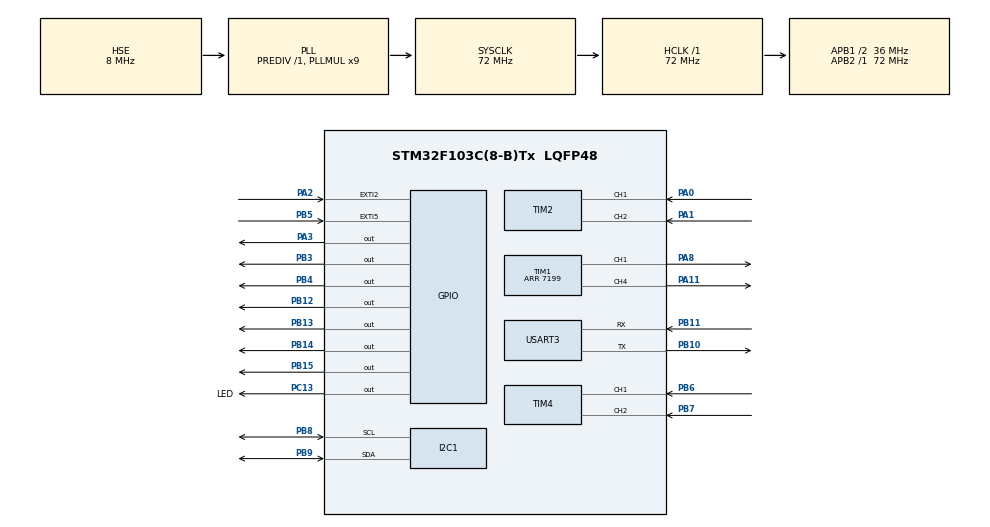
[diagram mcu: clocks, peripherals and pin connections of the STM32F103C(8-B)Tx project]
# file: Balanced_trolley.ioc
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Dma.Request0=USART3_RX
Dma.Request1=USART3_TX
Dma.USART3_RX.0.Direction=DMA_PERIPH_TO_MEMORY
Dma.USART3_RX.0.Instance=DMA1_Channel3
Dma.USART3_RX.0.MemDataAlignment=DMA_MDATAALIGN_BYTE
Dma.USART3_RX.0.MemInc=DMA_MINC_ENABLE
Dma.USART3_RX.0.Mode=DMA_NORMAL
Dma.USART3_RX.0.PeriphDataAlignment=DMA_PDATAALIGN_BYTE
Dma.USART3_RX.0.PeriphInc=DMA_PINC_DISABLE
Dma.USART3_RX.0.Priority=DMA_PRIORITY_LOW
Dma.USART3_TX.1.Direction=DMA_MEMORY_TO_PERIPH
Dma.USART3_TX.1.Instance=DMA1_Channel2
Dma.USART3_TX.1.MemDataAlignment=DMA_MDATAALIGN_BYTE
Dma.USART3_TX.1.MemInc=DMA_MINC_ENABLE
Dma.USART3_TX.1.Mode=DMA_CIRCULAR
Dma.USART3_TX.1.PeriphDataAlignment=DMA_PDATAALIGN_BYTE
Dma.USART3_TX.1.PeriphInc=DMA_PINC_DISABLE
Dma.USART3_TX.1.Priority=DMA_PRIORITY_LOW
Mcu.Family=STM32F1
Mcu.Name=STM32F103C(8-B)Tx
Mcu.Package=LQFP48
NVIC.DMA1_Channel2_IRQn=true\:0\:0\:false\:false\:true\:false\:true\:true
NVIC.DMA1_Channel3_IRQn=true\:0\:0\:false\:false\:true\:false\:true\:true
NVIC.EXTI2_IRQn=true\:0\:0\:false\:false\:true\:true\:true\:true
NVIC.EXTI9_5_IRQn=true\:0\:0\:false\:false\:true\:true\:true\:true
NVIC.PriorityGroup=NVIC_PRIORITYGROUP_4
NVIC.TIM2_IRQn=true\:0\:0\:false\:false\:true\:true\:true\:true
NVIC.TIM4_IRQn=true\:0\:0\:false\:false\:true\:true\:true\:true
NVIC.USART3_IRQn=true\:0\:0\:false\:false\:true\:true\:true\:true
PA0-WKUP.Signal=S_TIM2_CH1_ETR
PA1.Signal=S_TIM2_CH2
PA11.Signal=S_TIM1_CH4
PA13.Mode=Serial_Wire
PA13.Signal=SYS_JTMS-SWDIO
PA14.Mode=Serial_Wire
PA14.Signal=SYS_JTCK-SWCLK
PA2.GPIO_ModeDefaultEXTI=GPIO_MODE_IT_RISING_FALLING
PA2.Signal=GPXTI2
PA3.GPIO_Speed=GPIO_SPEED_FREQ_HIGH
PA3.Signal=GPIO_Output
PA8.Signal=S_TIM1_CH1
PB10.Mode=Asynchronous
PB10.Signal=USART3_TX
PB11.Mode=Asynchronous
PB11.Signal=USART3_RX
PB12.Signal=GPIO_Output
PB13.Signal=GPIO_Output
PB14.Signal=GPIO_Output
PB15.Signal=GPIO_Output
PB3.Signal=GPIO_Output
PB4.Signal=GPIO_Output
PB5.GPIO_ModeDefaultEXTI=GPIO_MODE_IT_FALLING
PB5.GPIO_PuPd=GPIO_PULLUP
PB5.Signal=GPXTI5
PB6.Signal=S_TIM4_CH1
PB7.Signal=S_TIM4_CH2
PB8.Mode=I2C
PB8.Signal=I2C1_SCL
PB9.Mode=I2C
PB9.Signal=I2C1_SDA
PC13-TAMPER-RTC.GPIO_Label=LED
PC13-TAMPER-RTC.GPIO_Speed=GPIO_SPEED_FREQ_HIGH
PC13-TAMPER-RTC.Signal=GPIO_Output
PC14-OSC32_IN.Mode=LSE-External-Oscillator
PC14-OSC32_IN.Signal=RCC_OSC32_IN
PC15-OSC32_OUT.Mode=LSE-External-Oscillator
PC15-OSC32_OUT.Signal=RCC_OSC32_OUT
PD0-OSC_IN.Mode=HSE-External-Oscillator
PD0-OSC_IN.Signal=RCC_OSC_IN
PD1-OSC_OUT.Mode=HSE-External-Oscillator
PD1-OSC_OUT.Signal=RCC_OSC_OUT
ProjectManager.HeapSize=0x200
ProjectManager.StackSize=0x400
ProjectManager.TargetToolchain=MDK-ARM V5.32
RCC.AHBFreq_Value=72000000
RCC.APB1CLKDivider=RCC_HCLK_DIV2
RCC.APB1Freq_Value=36000000
RCC.APB1TimFreq_Value=72000000
RCC.APB2Freq_Value=72000000
RCC.APB2TimFreq_Value=72000000
RCC.HCLKFreq_Value=72000000
RCC.PLLMUL=RCC_PLL_MUL9
RCC.PLLSourceVirtual=RCC_PLLSOURCE_HSE
RCC.SYSCLKFreq_VALUE=72000000
RCC.SYSCLKSource=RCC_SYSCLKSOURCE_PLLCLK
RCC.USBFreq_Value=72000000
SH.S_TIM1_CH1.0=TIM1_CH1,PWM Generation1 CH1
SH.S_TIM1_CH4.0=TIM1_CH4,PWM Generation4 CH4
SH.S_TIM2_CH1_ETR.0=TIM2_CH1,Encoder_Interface
SH.S_TIM2_CH2.0=TIM2_CH2,Encoder_Interface
SH.S_TIM4_CH1.0=TIM4_CH1,Encoder_Interface
SH.S_TIM4_CH2.0=TIM4_CH2,Encoder_Interface
TIM1.Channel-PWM\ Generation1\ CH1=TIM_CHANNEL_1
TIM1.Channel-PWM\ Generation4\ CH4=TIM_CHANNEL_4
TIM1.OC4Preload_PWM=ENABLE
TIM1.Period=7199
TIM1.Pulse-PWM\ Generation1\ CH1=7200
TIM1.Pulse-PWM\ Generation4\ CH4=7200
TIM2.EncoderMode=TIM_ENCODERMODE_TI12
TIM3.Prescaler=71
TIM4.EncoderMode=TIM_ENCODERMODE_TI12
USART3.VirtualMode=VM_ASYNC
VP_TIM3_VS_ClockSourceINT.Mode=Internal
board=custom

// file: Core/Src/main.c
/* USER CODE BEGIN Header */
/**
  ******************************************************************************
  * @file           : main.c
  * @brief          : Main program body
  ******************************************************************************
  * @attention
  *
  * Copyright (c) 2024 STMicroelectronics.
  * All rights reserved.
  *
  * This software is licensed under terms that can be found in the LICENSE file
  * in the root directory of this software component.
  * If no LICENSE file comes with this software, it is provided AS-IS.
  *
  ******************************************************************************
  */
/* USER CODE END Header */
#include "main.h"
#include "dma.h"
#include "i2c.h"
#include "tim.h"
#include "usart.h"
#include "gpio.h"

/* USER CODE BEGIN Includes */
#include "oled.h"
#include "motor.h"
#include "stdio.h"
#include "encoder.h"
#include "IIC.h"
#include "inv_mpu.h"
#include "inv_mpu_dmp_motion_driver.h"
#include "mpu6050.h"
#include "pid_user.h"
#include "sr04.h"
/* USER CODE END Includes */

/* USER CODE BEGIN PV */
uint32_t sys_tick;
uint32_t display_buf[20];
extern float distance;
extern float roll;
extern int Encoder_Left,Encoder_Right;
extern uint8_t rx_buf[2];
extern short gyroz;//角速度z
/* USER CODE END PV */

void SystemClock_Config(void);
/* USER CODE BEGIN PFP */
void Read(void);
/* USER CODE END PFP */

int main(void)
{

  /* MCU Configuration--------------------------------------------------------*/

  /* Reset of all peripherals, Initializes the Flash interface and the Systick. */
  HAL_Init();

  /* Configure the system clock */
  SystemClock_Config();

  /* Initialize all configured peripherals */
  MX_GPIO_Init();
  MX_DMA_Init();
  MX_I2C1_Init();
  MX_TIM1_Init();
  MX_TIM2_Init();
  MX_TIM3_Init();
  MX_TIM4_Init();
  MX_USART3_UART_Init();
  /* USER CODE BEGIN 2 */
	OLED_Init();//初始化
	OLED_Clear();//清屏
	MPU_Init();
	mpu_dmp_init();
	OLED_ShowString(0,00,"Init Sucess",16);
	HAL_NVIC_SetPriority(EXTI9_5_IRQn, 0, 0);
	HAL_NVIC_EnableIRQ(EXTI9_5_IRQn);
	HAL_TIM_PWM_Start(&htim1,TIM_CHANNEL_1);
	HAL_TIM_PWM_Start(&htim1,TIM_CHANNEL_4);
	//HAL_UART_Receive_IT(&huart3,rx_buf,1);
	HAL_UART_Receive_DMA(&huart3,rx_buf,1);
	Load(0,0);
	OLED_Clear();
  /* USER CODE END 2 */

  /* Infinite loop */
  /* USER CODE BEGIN WHILE */
  while (1)
  {
		sprintf((char *)display_buf,"Encoder_L:%d   ",Encoder_Left);
		OLED_ShowString(0,0,display_buf,16);
		sprintf((char *)display_buf,"Encoder_R:%d   ",Encoder_Right);
		OLED_ShowString(0,2,display_buf,16);
		sprintf((char *)display_buf,"roll:%.1f   ",roll);
		OLED_ShowString(0,4,display_buf,16);
		GET_Distance();
		sprintf((char *)display_buf,"distance:%.1f  ",distance);
		OLED_ShowString(0,6,display_buf,12);
    /* USER CODE END WHILE */

  }
}

void SystemClock_Config(void)
{
  RCC_OscInitTypeDef RCC_OscInitStruct = {0};
  RCC_ClkInitTypeDef RCC_ClkInitStruct = {0};

  /** Initializes the RCC Oscillators according to the specified parameters
  * in the RCC_OscInitTypeDef structure.
  */
  RCC_OscInitStruct.OscillatorType = RCC_OSCILLATORTYPE_HSE;
  RCC_OscInitStruct.HSEState = RCC_HSE_ON;
  RCC_OscInitStruct.HSEPredivValue = RCC_HSE_PREDIV_DIV1;
  RCC_OscInitStruct.HSIState = RCC_HSI_ON;
  RCC_OscInitStruct.PLL.PLLState = RCC_PLL_ON;
  RCC_OscInitStruct.PLL.PLLSource = RCC_PLLSOURCE_HSE;
  RCC_OscInitStruct.PLL.PLLMUL = RCC_PLL_MUL9;
  if (HAL_RCC_OscConfig(&RCC_OscInitStruct) != HAL_OK)
  {
    Error_Handler();
  }

  /** Initializes the CPU, AHB and APB buses clocks
  */
  RCC_ClkInitStruct.ClockType = RCC_CLOCKTYPE_HCLK|RCC_CLOCKTYPE_SYSCLK
                              |RCC_CLOCKTYPE_PCLK1|RCC_CLOCKTYPE_PCLK2;
  RCC_ClkInitStruct.SYSCLKSource = RCC_SYSCLKSOURCE_PLLCLK;
  RCC_ClkInitStruct.AHBCLKDivider = RCC_SYSCLK_DIV1;
  RCC_ClkInitStruct.APB1CLKDivider = RCC_HCLK_DIV2;
  RCC_ClkInitStruct.APB2CLKDivider = RCC_HCLK_DIV1;

  if (HAL_RCC_ClockConfig(&RCC_ClkInitStruct, FLASH_LATENCY_2) != HAL_OK)
  {
    Error_Handler();
  }
}

void Error_Handler(void)
{
  __disable_irq();
  while (1)
  {
  }
}
